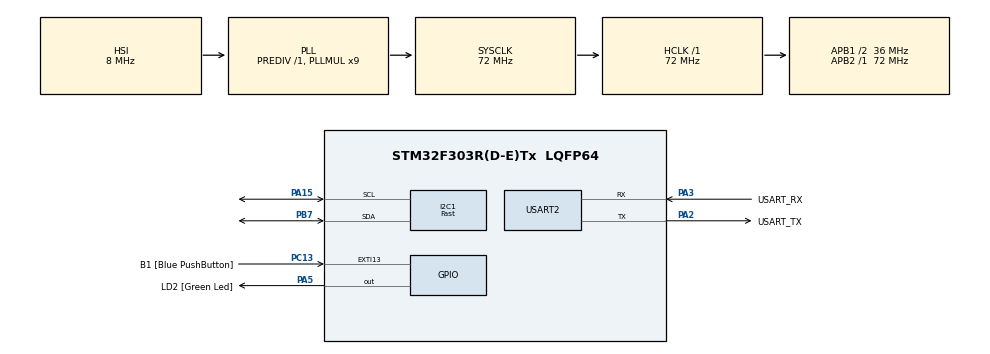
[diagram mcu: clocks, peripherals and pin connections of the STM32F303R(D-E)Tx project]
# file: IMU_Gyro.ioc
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I2C1.I2C_Fall_Time=100
I2C1.I2C_Rise_Time=100
I2C1.I2C_Speed_Mode=I2C_Fast
I2C1.Timing=0x0010020A
Mcu.Family=STM32F3
Mcu.Name=STM32F303R(D-E)Tx
Mcu.Package=LQFP64
NVIC.PriorityGroup=NVIC_PRIORITYGROUP_0
PA13.GPIO_Label=TMS
PA13.Mode=Serial_Wire
PA13.Signal=SYS_JTMS-SWDIO
PA14.GPIO_Label=TCK
PA14.Mode=Serial_Wire
PA14.Signal=SYS_JTCK-SWCLK
PA15.Mode=I2C
PA15.Signal=I2C1_SCL
PA2.GPIO_Label=USART_TX
PA2.GPIO_Mode=GPIO_MODE_AF_PP
PA2.GPIO_PuPd=GPIO_NOPULL
PA2.GPIO_Speed=GPIO_SPEED_FREQ_LOW
PA2.Mode=Asynchronous
PA2.Signal=USART2_TX
PA3.GPIO_Label=USART_RX
PA3.GPIO_Mode=GPIO_MODE_AF_PP
PA3.GPIO_PuPd=GPIO_NOPULL
PA3.GPIO_Speed=GPIO_SPEED_FREQ_LOW
PA3.Mode=Asynchronous
PA3.Signal=USART2_RX
PA5.GPIO_Label=LD2 [Green Led]
PA5.GPIO_Mode=GPIO_MODE_OUTPUT_PP
PA5.GPIO_PuPd=GPIO_NOPULL
PA5.GPIO_Speed=GPIO_SPEED_FREQ_LOW
PA5.Signal=GPIO_Output
PB3.GPIO_Label=SWO
PB3.Signal=SYS_JTDO-TRACESWO
PB7.Mode=I2C
PB7.Signal=I2C1_SDA
PC13.GPIO_Label=B1 [Blue PushButton]
PC13.GPIO_ModeDefaultEXTI=GPIO_MODE_IT_FALLING
PC13.Signal=GPXTI13
PC14-OSC32_IN.Mode=LSE-External-Oscillator
PC14-OSC32_IN.Signal=RCC_OSC32_IN
PC15-OSC32_OUT.Mode=LSE-External-Oscillator
PC15-OSC32_OUT.Signal=RCC_OSC32_OUT
PF0-OSC_IN.Mode=HSE-External-Clock-Source
PF0-OSC_IN.Signal=RCC_OSC_IN
PF1-OSC_OUT.Signal=RCC_OSC_OUT
ProjectManager.HeapSize=0x200
ProjectManager.StackSize=0x400
ProjectManager.TargetToolchain=STM32CubeIDE
RCC.AHBFreq_Value=72000000
RCC.APB1CLKDivider=RCC_HCLK_DIV2
RCC.APB1Freq_Value=36000000
RCC.APB1TimFreq_Value=72000000
RCC.APB2Freq_Value=72000000
RCC.APB2TimFreq_Value=72000000
RCC.CortexFreq_Value=72000000
RCC.HCLKFreq_Value=72000000
RCC.HSE_VALUE=8000000
RCC.HSI_VALUE=8000000
RCC.PLLM=8
RCC.PLLMUL=RCC_PLL_MUL9
RCC.PLLN=336
RCC.PLLP=RCC_PLLP_DIV4
RCC.PLLQ=7
RCC.RCC_PLLsource_Clock_Source_FROM_HSE=RCC_HSE_PREDIV_DIV2
RCC.SYSCLKFreq_VALUE=72000000
RCC.SYSCLKSourceVirtual=RCC_SYSCLKSOURCE_PLLCLK
RCC.USBFreq_Value=72000000
USART2.VirtualMode-Asynchronous=VM_ASYNC
board=NUCLEO-F303RE

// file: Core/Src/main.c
/* USER CODE BEGIN Header */
/**
  ******************************************************************************
  * @file           : main.c
  * @brief          : Main program body
  ******************************************************************************
  * @attention
  *
  *	@Title IMU_Gyro
  *
  *	@Will Armentrout
  *	@version 1.0
  * Copyright (c) 2023 STMicroelectronics.
  * All rights reserved.
  *
  * This software is licensed under terms that can be found in the LICENSE file
  * in the root directory of this software component.
  * If no LICENSE file comes with this software, it is provided AS-IS.
  *
  ******************************************************************************
  */
/* USER CODE END Header */
#include "main.h"

I2C_HandleTypeDef hi2c1;

UART_HandleTypeDef huart2;

void SystemClock_Config(void);
static void MX_GPIO_Init(void);
static void MX_USART2_UART_Init(void);
static void MX_I2C1_Init(void);

int main(void)
{

  /* MCU Configuration--------------------------------------------------------*/

  /* Reset of all peripherals, Initializes the Flash interface and the Systick. */
  HAL_Init();

  /* Configure the system clock */
  SystemClock_Config();

  /* Initialize all configured peripherals */
  MX_GPIO_Init();
  MX_USART2_UART_Init();
  MX_I2C1_Init();
  /* USER CODE BEGIN 2 */
  /* MPU Loop Variables */
      	  /* Slave Address of the MPU-6050 */
      	  uint16_t mpuAddress = 0xD0; /* MPU-6050 Address */

      	  /* MPU-6050 Register Addresses */
      	  uint8_t regAddress_PWR_MGMT1 = 0x6B; /* Power Configuration */
      	  uint8_t regAddress_PWR_MGMT2 = 0x6C; /* Power Sample Rate Configuration */
      	  uint8_t regAddress_CONFIG = 0x1A; /* System Configuration */
      	  uint8_t regAddress_GYRO_CONFIG = 0x1B; /* Gyro Configuration */
      	  uint8_t regAddress_ACCEL_CONFIG = 0x1C; /* Accelerometer Configuration */
      	  uint8_t regAddress_ACCEL_XOUTH = 0x3B; /* X Acceleration Data High Byte */
      	  uint8_t regAddress_ACCEL_XOUTL = 0x3C; /* X Acceleration Data Low Byte */
      	  uint8_t regAddress_ACCEL_YOUTH = 0x3D; /* Y Acceleration Data High Byte */
      	  uint8_t regAddress_ACCEL_YOUTL = 0x3E; /* Y Acceleration Data Low Byte */
      	  uint8_t regAddress_ACCEL_ZOUTH = 0x3F; /* Z Acceleration Data High Byte */
      	  uint8_t regAddress_ACCEL_ZOUTL = 0x40; /* Z Acceleration Data Low Byte */
      	  uint8_t regAddress_TEMP_OUTH = 0x41; /* Temperature Data High Byte */
      	  uint8_t regAddress_TEMP_OUTL = 0x42; /* Temperature Data Low Byte */
      	  uint8_t regAddress_GYRO_XOUTH = 0x43; /* X Gyro Data High Byte */
      	  uint8_t regAddress_GYRO_XOUTL = 0x44; /* X Gyro Data Low Byte */
      	  uint8_t regAddress_GYRO_YOUTH = 0x45; /* Y Gyro Data High Byte */
      	  uint8_t regAddress_GYRO_YOUTL = 0x46; /* Y Gyro Data Low Byte */
      	  uint8_t regAddress_GYRO_ZOUTH = 0x47; /* Z Gyro Data High Byte */
      	  uint8_t regAddress_GYRO_ZOUTL = 0x48; /* Z Gyro Data Low Byte */
      	  uint8_t regAddress_WHO_AM_I = 0x75; /* Verify the Identity of the Device */
      	  uint8_t regAddress_SMPLRT_DIV = 0x19; /* Set Data Rate */

      	  /* Mode Settings */
      	  uint8_t regPWR_MGMT_1_Val = 0x00; /* Power 1 Configurations Device Reset = 0, Sleep = 0, Cycle = 0, Temp_Disable = 0, CLKSEL = 000 */
      	  uint8_t regPWR_MGMT_2_Val = 0xC0; /* Power 2 Configurations Cycle Frequency = 3, Standby = 000000 */
      	  uint8_t regCONFIG_Val = 0x00; /* System Configuration, Highest Frequency filtering on all registers */
      	  uint8_t regGYRO_CONFIG_Val = 0x00; /* Setting the full range of the Gyro to +/- 250 deg/s */
      	  uint8_t regACCEL_CONFIG_Val = 0x00; /* Setting the full range of the Acceleration to +/- 2g */
      	  uint8_t regSMPLRT_DIV_Val = 0x07; /* Data rate of 1 kHz */
      	  float gyroScale = 131.072; /* Scaling Factor for the Gyro */
      	  float accelScale = 16384.0; /* Scaling Factor for the Accelerometer */

      	  /* Output Buffers */
      	  uint8_t dataReg_Accel_X[2]; /* Buffer for reading the X Acceleration register */
      	  uint8_t dataReg_Accel_Y[2]; /* Buffer for reading the Y Acceleration register */
      	  uint8_t dataReg_Accel_Z[2]; /* Buffer for reading the Z Acceleration register */
      	  uint8_t dataReg_Gyro_X[2]; /* Buffer for reading the X Gyro register */
      	  uint8_t dataReg_Gyro_Y[2]; /* Buffer for reading the Y Gyro register */
      	  uint8_t dataReg_Gyro_Z[2]; /* Buffer for reading the Z Gyro register */
      	  uint8_t dataReg_Temp_MPU[2]; /* Buffer for reading the temperature from the MPU */
      	  int16_t accelX; /* Full 16 bit data from the X Acceleration register */
      	  int16_t accelY; /* Full 16 bit data from the Y Acceleration register */
      	  int16_t accelZ; /* Full 16 bit data from the Z Acceleration register */
      	  int16_t gyroX; /* Full 16 bit data from the X Gyro register */
      	  int16_t gyroY; /* Full 16 bit data from the Y Gyro register */
      	  int16_t gyroZ; /* Full 16 bit data from the Z Gyro register */
      	  int16_t tempMPU; /* Full 16 bit data from the temperature sensor on the MPU-6050 */
      	  float gyroXVal; /* Decimal X Angular Velocity */
      	  float gyroYVal; /* Decimal Y Angular Velocity */
      	  float gyroZVal; /* Decimal Z Angular Velocity */
      	  float accelXVal; /* Decimal X Acceleration Velocity */
      	  float accelYVal; /* Decimal Y Acceleration Velocity */
      	  float accelZVal; /* Decimal Z Acceleration Velocity */
      	  float tempVal; /* Decimal Temperature Reading */
      	  char acceleration[128]; /* String for Acceleration serial port output */
      	  char velocity[128]; /* String for Velocity serial port output */
      	  char temperatureMPU[64]; /* String where to store the serial port output */

      	  /* Initializing MPU-6050 for Measurement */
      	  HAL_I2C_Mem_Write(&hi2c1, mpuAddress, regAddress_PWR_MGMT1, I2C_MEMADD_SIZE_8BIT, &regPWR_MGMT_1_Val, 1, 2000u); /* Writing the Device Reset and Cycle */
      	  //HAL_I2C_Mem_Write(&hi2c1, mpuAddress, regAddress_PWR_MGMT2, I2C_MEMADD_SIZE_8BIT, &regPWR_MGMT_2_Val, 1, 2000u); /* Writing the Cycle Frequency */
      	  HAL_I2C_Mem_Write(&hi2c1, mpuAddress, regAddress_SMPLRT_DIV, I2C_MEMADD_SIZE_8BIT, &regSMPLRT_DIV_Val, 1, 2000u); /* Writing the data rate */
      	  //HAL_I2C_Mem_Write(&hi2c1, mpuAddress, regAddress_CONFIG, I2C_MEMADD_SIZE_8BIT, &regCONFIG_Val, 1, 2000u); /* Writing the System Configuration */
      	  HAL_I2C_Mem_Write(&hi2c1, mpuAddress, regAddress_GYRO_CONFIG, I2C_MEMADD_SIZE_8BIT, &regGYRO_CONFIG_Val, 1, 2000u); /* Writing the Gyro full range */
      	  HAL_I2C_Mem_Write(&hi2c1, mpuAddress, regAddress_ACCEL_CONFIG, I2C_MEMADD_SIZE_8BIT, &regACCEL_CONFIG_Val, 1, 2000u); /* Writing the Accelerometer full range */

  /* USER CODE END 2 */

  /* Infinite loop */
  while (1)
  {
	  /* MPU-6050 on  I2C 2 */
	  	  /* Read the Gyro in X */
	  	  HAL_I2C_Mem_Read(&hi2c1, mpuAddress | 0x01, regAddress_GYRO_XOUTH, I2C_MEMADD_SIZE_8BIT, &dataReg_Gyro_X[0], 1, 2000u);
	  	  HAL_I2C_Mem_Read(&hi2c1, mpuAddress | 0x01, regAddress_GYRO_XOUTL, I2C_MEMADD_SIZE_8BIT, &dataReg_Gyro_X[1], 1, 2000u);

	  	  /* Compose the register content, regardless of the endianess */
	  	  gyroX = (((int16_t)dataReg_Gyro_X[0] << 8) | dataReg_Gyro_X[1]);

	  	  /* Read the Gyro in Y */
	  	  HAL_I2C_Mem_Read(&hi2c1, mpuAddress | 0x01, regAddress_GYRO_YOUTH, I2C_MEMADD_SIZE_8BIT, &dataReg_Gyro_Y[0], 1, 2000u);
	  	  HAL_I2C_Mem_Read(&hi2c1, mpuAddress | 0x01, regAddress_GYRO_YOUTL, I2C_MEMADD_SIZE_8BIT, &dataReg_Gyro_Y[1], 1, 2000u);

	  	  /* Compose the register content, regardless of the endianess */
	  	  gyroY = (((int16_t)dataReg_Gyro_Y[0] << 8) | dataReg_Gyro_Y[1]);

	  	  /* Read the Gyro in Z */
	  	  HAL_I2C_Mem_Read(&hi2c1, mpuAddress | 0x01, regAddress_GYRO_ZOUTH, I2C_MEMADD_SIZE_8BIT, &dataReg_Gyro_Z[0], 1, 2000u);
	  	  HAL_I2C_Mem_Read(&hi2c1, mpuAddress | 0x01, regAddress_GYRO_ZOUTL, I2C_MEMADD_SIZE_8BIT, &dataReg_Gyro_Z[1], 1, 2000u);

	  	  /* Compose the register content, regardless of the endianess */
	  	  gyroZ = (((int16_t)dataReg_Gyro_Z[0] << 8) | dataReg_Gyro_Z[1]);

	  	  /* Read the Accelerometer in X */
	  	  HAL_I2C_Mem_Read(&hi2c1, mpuAddress | 0x01, regAddress_ACCEL_XOUTH, I2C_MEMADD_SIZE_8BIT, &dataReg_Accel_X[0], 1, 2000u);
	  	  HAL_I2C_Mem_Read(&hi2c1, mpuAddress | 0x01, regAddress_ACCEL_XOUTL, I2C_MEMADD_SIZE_8BIT, &dataReg_Accel_X[1], 1, 2000u);

	  	  /* Compose the register content, regardles of the endianess */
	  	  accelX = (((int16_t)dataReg_Accel_X[0] << 8) | dataReg_Accel_X[1]);

	  	  /* Read the Accelerometer in Y */
	  	  HAL_I2C_Mem_Read(&hi2c1, mpuAddress | 0x01, regAddress_ACCEL_XOUTH, I2C_MEMADD_SIZE_8BIT, &dataReg_Accel_Y[0], 1, 2000u);
	  	  HAL_I2C_Mem_Read(&hi2c1, mpuAddress | 0x01, regAddress_ACCEL_XOUTL, I2C_MEMADD_SIZE_8BIT, &dataReg_Accel_Y[1], 1, 2000u);

	  	  /* Compose the register content, regardles of the endianess */
	  	  accelY = (((int16_t)dataReg_Accel_Y[0] << 8) | dataReg_Accel_Y[1]);

	  	  /* Read the Accelerometer in Z */
	  	  HAL_I2C_Mem_Read(&hi2c1, mpuAddress | 0x01, regAddress_ACCEL_ZOUTH, I2C_MEMADD_SIZE_8BIT, &dataReg_Accel_Z[0], 1, 2000u);
	  	  HAL_I2C_Mem_Read(&hi2c1, mpuAddress | 0x01, regAddress_ACCEL_ZOUTL, I2C_MEMADD_SIZE_8BIT, &dataReg_Accel_Z[1], 1, 2000u);

	  	  /* Compose the register content, regardles of the endianess */
	  	  accelZ = (((int16_t)dataReg_Accel_Z[0] << 8) | dataReg_Accel_Z[1]);

	  	  /* Convert to decimal and scale */
	  	  gyroXVal = ((float)gyroX) / gyroScale;
	  	  gyroYVal = ((float)gyroY) / gyroScale;
	  	  gyroZVal = ((float)gyroZ) / gyroScale;
	  	  accelXVal = ((float)accelX) / accelScale;
	  	  accelYVal = ((float)accelY) / accelScale;
	  	  accelZVal = ((float)accelZ) / accelScale;

	  	  /* Temperature Measurement */
	  	  HAL_I2C_Mem_Read(&hi2c1, mpuAddress, regAddress_TEMP_OUTH, I2C_MEMADD_SIZE_8BIT, &dataReg_Temp_MPU[0], 1, 1000u);
	  	  HAL_I2C_Mem_Read(&hi2c1, mpuAddress, regAddress_TEMP_OUTL, I2C_MEMADD_SIZE_8BIT, &dataReg_Temp_MPU[1], 1, 1000u);

	  	  tempMPU = (((int16_t)dataReg_Temp_MPU[0] << 8) | dataReg_Temp_MPU[1]);
	  	  tempVal = ((float)tempMPU)/340 + 36.35;

	  	  /* Prepare a formatted string, with the temperature value */
	  	  sprintf(velocity, "Angular Velocity in X: %f deg/s, Y: %f deg/s, Z: %f deg/s\r\n", gyroXVal, gyroYVal, gyroZVal);
	  	  sprintf(acceleration, "Acceleration in X: %f g, Y: %f g, Z: %f g\r\n", accelXVal, accelYVal, accelZVal);
	  	  sprintf(temperatureMPU, "Temp: %f C\r\n", tempVal);

	  	  /* Transmit the message over UART */
	  	  HAL_UART_Transmit(&huart2, velocity, strlen(velocity), 1000u);
	  	  HAL_UART_Transmit(&huart2, acceleration, strlen(acceleration), 1000u);
	  	  HAL_UART_Transmit(&huart2, temperatureMPU, strlen(temperatureMPU), 1000u);

	  	  /* Add a newline */
//	  	  HAL_UART_Transmit(&huart2, '\n', strlen('\n'), 1000u);

	  	  /* Wait half a second */
	  	  HAL_Delay(2000);
  }
}

void SystemClock_Config(void)
{
  RCC_OscInitTypeDef RCC_OscInitStruct = {0};
  RCC_ClkInitTypeDef RCC_ClkInitStruct = {0};
  RCC_PeriphCLKInitTypeDef PeriphClkInit = {0};

  /** Initializes the RCC Oscillators according to the specified parameters
  * in the RCC_OscInitTypeDef structure.
  */
  RCC_OscInitStruct.OscillatorType = RCC_OSCILLATORTYPE_HSI;
  RCC_OscInitStruct.HSIState = RCC_HSI_ON;
  RCC_OscInitStruct.HSICalibrationValue = RCC_HSICALIBRATION_DEFAULT;
  RCC_OscInitStruct.PLL.PLLState = RCC_PLL_ON;
  RCC_OscInitStruct.PLL.PLLSource = RCC_PLLSOURCE_HSI;
  RCC_OscInitStruct.PLL.PLLMUL = RCC_PLL_MUL9;
  RCC_OscInitStruct.PLL.PREDIV = RCC_PREDIV_DIV1;
  if (HAL_RCC_OscConfig(&RCC_OscInitStruct) != HAL_OK)
  {
    Error_Handler();
  }

  /** Initializes the CPU, AHB and APB buses clocks
  */
  RCC_ClkInitStruct.ClockType = RCC_CLOCKTYPE_HCLK|RCC_CLOCKTYPE_SYSCLK
                              |RCC_CLOCKTYPE_PCLK1|RCC_CLOCKTYPE_PCLK2;
  RCC_ClkInitStruct.SYSCLKSource = RCC_SYSCLKSOURCE_PLLCLK;
  RCC_ClkInitStruct.AHBCLKDivider = RCC_SYSCLK_DIV1;
  RCC_ClkInitStruct.APB1CLKDivider = RCC_HCLK_DIV2;
  RCC_ClkInitStruct.APB2CLKDivider = RCC_HCLK_DIV1;

  if (HAL_RCC_ClockConfig(&RCC_ClkInitStruct, FLASH_LATENCY_2) != HAL_OK)
  {
    Error_Handler();
  }
  PeriphClkInit.PeriphClockSelection = RCC_PERIPHCLK_USART2|RCC_PERIPHCLK_I2C1;
  PeriphClkInit.Usart2ClockSelection = RCC_USART2CLKSOURCE_PCLK1;
  PeriphClkInit.I2c1ClockSelection = RCC_I2C1CLKSOURCE_HSI;
  if (HAL_RCCEx_PeriphCLKConfig(&PeriphClkInit) != HAL_OK)
  {
    Error_Handler();
  }
}

static void MX_I2C1_Init(void)
{

  hi2c1.Instance = I2C1;
  hi2c1.Init.Timing = 0x0010020A;
  hi2c1.Init.OwnAddress1 = 0;
  hi2c1.Init.AddressingMode = I2C_ADDRESSINGMODE_7BIT;
  hi2c1.Init.DualAddressMode = I2C_DUALADDRESS_DISABLE;
  hi2c1.Init.OwnAddress2 = 0;
  hi2c1.Init.OwnAddress2Masks = I2C_OA2_NOMASK;
  hi2c1.Init.GeneralCallMode = I2C_GENERALCALL_DISABLE;
  hi2c1.Init.NoStretchMode = I2C_NOSTRETCH_DISABLE;
  if (HAL_I2C_Init(&hi2c1) != HAL_OK)
  {
    Error_Handler();
  }

  /** Configure Analogue filter
  */
  if (HAL_I2CEx_ConfigAnalogFilter(&hi2c1, I2C_ANALOGFILTER_ENABLE) != HAL_OK)
  {
    Error_Handler();
  }

  /** Configure Digital filter
  */
  if (HAL_I2CEx_ConfigDigitalFilter(&hi2c1, 0) != HAL_OK)
  {
    Error_Handler();
  }

}

static void MX_USART2_UART_Init(void)
{

  huart2.Instance = USART2;
  huart2.Init.BaudRate = 38400;
  huart2.Init.WordLength = UART_WORDLENGTH_8B;
  huart2.Init.StopBits = UART_STOPBITS_1;
  huart2.Init.Parity = UART_PARITY_NONE;
  huart2.Init.Mode = UART_MODE_TX_RX;
  huart2.Init.HwFlowCtl = UART_HWCONTROL_NONE;
  huart2.Init.OverSampling = UART_OVERSAMPLING_16;
  huart2.Init.OneBitSampling = UART_ONE_BIT_SAMPLE_DISABLE;
  huart2.AdvancedInit.AdvFeatureInit = UART_ADVFEATURE_NO_INIT;
  if (HAL_UART_Init(&huart2) != HAL_OK)
  {
    Error_Handler();
  }

}

static void MX_GPIO_Init(void)
{
  GPIO_InitTypeDef GPIO_InitStruct = {0};

  /* GPIO Ports Clock Enable */
  __HAL_RCC_GPIOC_CLK_ENABLE();
  __HAL_RCC_GPIOF_CLK_ENABLE();
  __HAL_RCC_GPIOA_CLK_ENABLE();
  __HAL_RCC_GPIOB_CLK_ENABLE();

  /*Configure GPIO pin Output Level */
  HAL_GPIO_WritePin(LD2_GPIO_Port, LD2_Pin, GPIO_PIN_RESET);

  /*Configure GPIO pin : B1_Pin */
  GPIO_InitStruct.Pin = B1_Pin;
  GPIO_InitStruct.Mode = GPIO_MODE_IT_FALLING;
  GPIO_InitStruct.Pull = GPIO_NOPULL;
  HAL_GPIO_Init(B1_GPIO_Port, &GPIO_InitStruct);

  /*Configure GPIO pin : LD2_Pin */
  GPIO_InitStruct.Pin = LD2_Pin;
  GPIO_InitStruct.Mode = GPIO_MODE_OUTPUT_PP;
  GPIO_InitStruct.Pull = GPIO_NOPULL;
  GPIO_InitStruct.Speed = GPIO_SPEED_FREQ_LOW;
  HAL_GPIO_Init(LD2_GPIO_Port, &GPIO_InitStruct);

}

/* USER CODE BEGIN 4 */
//static float twos_Complement(uint16_t binaryInput)
//{
//	int lead = __builtin_clz(binaryInput);
//	float out;
//	if (lead == 0) {
//		/* Number is Negative */
//		binaryInput = ~binaryInput + 1;
//		out = (float)binaryInput * -1;
//	}
//	else {
//		out = (float)binaryInput;
//	}
//	return out;
//}

/* USER CODE END 4 */

void Error_Handler(void)
{
  __disable_irq();
  while (1)
  {
  }
}
